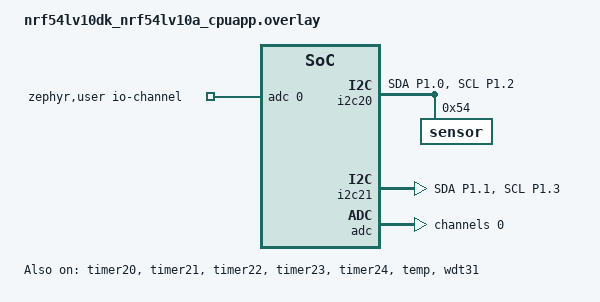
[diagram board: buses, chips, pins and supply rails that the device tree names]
/*
 * Copyright (c) 2026 Nordic Semiconductor ASA
 *
 * SPDX-License-Identifier: LicenseRef-Nordic-5-Clause
 */

/ {
	aliases {
		test-gpio = &led0;
		watchdog0 = &wdt31;
		/delete-property/ pwm_led1;
	};

	zephyr,user {
		io-channels = <&adc 0>;
	};
};

&pinctrl {
	i2c20_default_alt: i2c20_default_alt {
		group1 {
			psels = <NRF_PSEL(TWIM_SDA, 1, 0)>,
				<NRF_PSEL(TWIM_SCL, 1, 2)>;
		};
	};

	i2c20_sleep_alt: i2c20_sleep_alt {
		group1 {
			psels = <NRF_PSEL(TWIM_SDA, 1, 0)>,
				<NRF_PSEL(TWIM_SCL, 1, 2)>;
			low-power-enable;
		};
	};

	i2c21_default_alt: i2c21_default_alt {
		group1 {
			psels = <NRF_PSEL(TWIS_SDA, 1, 1)>,
				<NRF_PSEL(TWIS_SCL, 1, 3)>;
			bias-pull-up;
		};
	};

	i2c21_sleep_alt: i2c21_sleep_alt {
		group1 {
			psels = <NRF_PSEL(TWIS_SDA, 1, 1)>,
				<NRF_PSEL(TWIS_SCL, 1, 3)>;
			low-power-enable;
		};
	};
};

dut_twim: &i2c20 {
	compatible = "nordic,nrf-twim";
	status = "okay";
	pinctrl-0 = <&i2c20_default_alt>;
	pinctrl-1 = <&i2c20_sleep_alt>;
	pinctrl-names = "default", "sleep";

	sensor: sensor@54 {
		reg = <0x54>;
	};
};

dut_twis: &i2c21 {
	compatible = "nordic,nrf-twis";
	status = "okay";
	pinctrl-0 = <&i2c21_default_alt>;
	pinctrl-1 = <&i2c21_sleep_alt>;
	pinctrl-names = "default", "sleep";
};

&adc {
	#address-cells = <1>;
	#size-cells = <0>;
	status = "okay";

	channel@0 {
		reg = <0>;
		zephyr,gain = "ADC_GAIN_1";
		zephyr,reference = "ADC_REF_INTERNAL";
		zephyr,acquisition-time = <ADC_ACQ_TIME(ADC_ACQ_TIME_MICROSECONDS, 10)>;
		zephyr,input-positive = <NRF_SAADC_AIN4>; /* P1.07 */
		zephyr,resolution = <10>;
	};
};

&timer20 {
	status = "okay";
};

&timer21 {
	status = "okay";
};

&timer22 {
	status = "okay";
};

&timer23 {
	status = "okay";
};

&timer24 {
	status = "okay";
};

temp_sensor: &temp {
	status = "okay";
};

&gpio1 {
	status = "okay";
};

&wdt31 {
	status = "okay";
};
